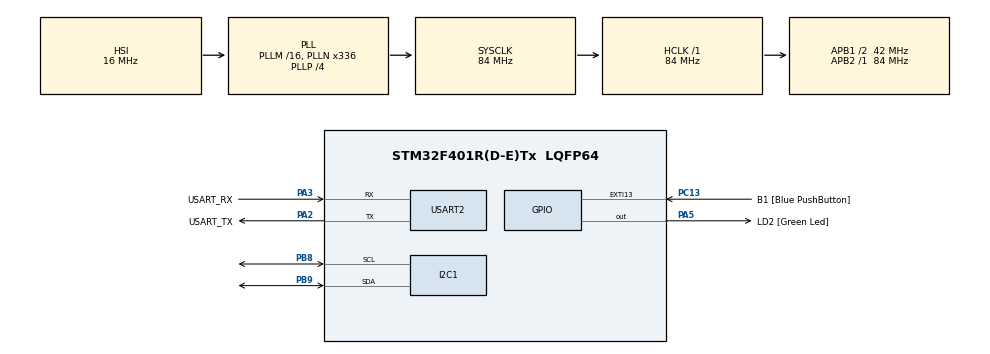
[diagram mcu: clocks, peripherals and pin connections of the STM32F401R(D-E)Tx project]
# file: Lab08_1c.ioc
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Dma.I2C1_RX.0.Direction=DMA_PERIPH_TO_MEMORY
Dma.I2C1_RX.0.FIFOMode=DMA_FIFOMODE_DISABLE
Dma.I2C1_RX.0.Instance=DMA1_Stream0
Dma.I2C1_RX.0.MemDataAlignment=DMA_MDATAALIGN_BYTE
Dma.I2C1_RX.0.MemInc=DMA_MINC_ENABLE
Dma.I2C1_RX.0.Mode=DMA_NORMAL
Dma.I2C1_RX.0.PeriphDataAlignment=DMA_PDATAALIGN_BYTE
Dma.I2C1_RX.0.PeriphInc=DMA_PINC_DISABLE
Dma.I2C1_RX.0.Priority=DMA_PRIORITY_HIGH
Dma.Request0=I2C1_RX
Dma.Request1=USART2_TX
Dma.USART2_TX.1.Direction=DMA_MEMORY_TO_PERIPH
Dma.USART2_TX.1.FIFOMode=DMA_FIFOMODE_DISABLE
Dma.USART2_TX.1.Instance=DMA1_Stream6
Dma.USART2_TX.1.MemDataAlignment=DMA_MDATAALIGN_BYTE
Dma.USART2_TX.1.MemInc=DMA_MINC_ENABLE
Dma.USART2_TX.1.Mode=DMA_NORMAL
Dma.USART2_TX.1.PeriphDataAlignment=DMA_PDATAALIGN_BYTE
Dma.USART2_TX.1.PeriphInc=DMA_PINC_DISABLE
Dma.USART2_TX.1.Priority=DMA_PRIORITY_HIGH
Mcu.Family=STM32F4
Mcu.Name=STM32F401R(D-E)Tx
Mcu.Package=LQFP64
NVIC.DMA1_Stream0_IRQn=true\:0\:0\:false\:false\:true\:false\:true\:true
NVIC.DMA1_Stream6_IRQn=true\:0\:0\:false\:false\:true\:false\:true\:true
NVIC.I2C1_ER_IRQn=true\:0\:0\:false\:false\:true\:true\:true\:true
NVIC.I2C1_EV_IRQn=true\:0\:0\:false\:false\:true\:true\:true\:true
NVIC.PriorityGroup=NVIC_PRIORITYGROUP_4
NVIC.TIM2_IRQn=true\:0\:0\:false\:false\:true\:true\:true\:true
NVIC.USART2_IRQn=true\:0\:0\:false\:false\:true\:true\:true\:true
PA13.GPIO_Label=TMS
PA13.Mode=Trace_Asynchronous_SW
PA13.Signal=SYS_JTMS-SWDIO
PA14.GPIO_Label=TCK
PA14.Mode=Trace_Asynchronous_SW
PA14.Signal=SYS_JTCK-SWCLK
PA2.GPIO_Label=USART_TX
PA2.GPIO_Mode=GPIO_MODE_AF_PP
PA2.GPIO_PuPd=GPIO_NOPULL
PA2.GPIO_Speed=GPIO_SPEED_FREQ_LOW
PA2.Mode=Asynchronous
PA2.Signal=USART2_TX
PA3.GPIO_Label=USART_RX
PA3.GPIO_Mode=GPIO_MODE_AF_PP
PA3.GPIO_PuPd=GPIO_NOPULL
PA3.GPIO_Speed=GPIO_SPEED_FREQ_LOW
PA3.Mode=Asynchronous
PA3.Signal=USART2_RX
PA5.GPIO_Label=LD2 [Green Led]
PA5.GPIO_Mode=GPIO_MODE_OUTPUT_PP
PA5.GPIO_PuPd=GPIO_NOPULL
PA5.GPIO_Speed=GPIO_SPEED_FREQ_LOW
PA5.Signal=GPIO_Output
PB3.GPIO_Label=SWO
PB3.Mode=Trace_Asynchronous_SW
PB3.Signal=SYS_JTDO-SWO
PB8.Mode=I2C
PB8.Signal=I2C1_SCL
PB9.Mode=I2C
PB9.Signal=I2C1_SDA
PC13-ANTI_TAMP.GPIO_Label=B1 [Blue PushButton]
PC13-ANTI_TAMP.GPIO_ModeDefaultEXTI=GPIO_MODE_IT_FALLING
PC13-ANTI_TAMP.GPIO_PuPd=GPIO_NOPULL
PC13-ANTI_TAMP.Signal=GPXTI13
PC14-OSC32_IN.Mode=LSE-External-Oscillator
PC14-OSC32_IN.Signal=RCC_OSC32_IN
PC15-OSC32_OUT.Mode=LSE-External-Oscillator
PC15-OSC32_OUT.Signal=RCC_OSC32_OUT
PH0\ -\ OSC_IN.Mode=HSE-External-Clock-Source
PH0\ -\ OSC_IN.Signal=RCC_OSC_IN
PH1\ -\ OSC_OUT.Mode=HSE-External-Clock-Source
PH1\ -\ OSC_OUT.Signal=RCC_OSC_OUT
ProjectManager.HeapSize=0x200
ProjectManager.StackSize=0x400
ProjectManager.TargetToolchain=STM32CubeIDE
RCC.48MHZClocksFreq_Value=48000000
RCC.AHBFreq_Value=84000000
RCC.APB1CLKDivider=RCC_HCLK_DIV2
RCC.APB1Freq_Value=42000000
RCC.APB1TimFreq_Value=84000000
RCC.APB2Freq_Value=84000000
RCC.APB2TimFreq_Value=84000000
RCC.CortexFreq_Value=84000000
RCC.HCLKFreq_Value=84000000
RCC.HSE_VALUE=8000000
RCC.HSI_VALUE=16000000
RCC.PLLN=336
RCC.PLLP=RCC_PLLP_DIV4
RCC.PLLQ=7
RCC.SYSCLKFreq_VALUE=84000000
RCC.SYSCLKSource=RCC_SYSCLKSOURCE_PLLCLK
RCC.VCOOutputFreq_Value=336000000
TIM2.Period=839999
TIM2.Prescaler=99
USART2.VirtualMode=VM_ASYNC
VP_TIM2_VS_ClockSourceINT.Mode=Internal
board=NUCLEO-F401RE

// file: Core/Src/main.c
/* USER CODE BEGIN Header */
/**
  ******************************************************************************
  * @file           : main.c
  * @brief          : Main program body
  ******************************************************************************
  * @attention
  *
  * Copyright (c) 2026 STMicroelectronics.
  * All rights reserved.
  *
  * This software is licensed under terms that can be found in the LICENSE file
  * in the root directory of this software component.
  * If no LICENSE file comes with this software, it is provided AS-IS.
  *
  ******************************************************************************
  */
/* USER CODE END Header */
#include "main.h"

/* USER CODE BEGIN Includes */
#include "stdio.h"
#include "string.h"

/* USER CODE END Includes */

/* USER CODE BEGIN PD */
#define LIS2DE_ADDR (0b0101000 << 1)
#define CTRL_REG1_ADDR (0x20)
#define CTRL_REG4_ADDR (0x23)
#define OUT_X_ADDR (0x29)
#define OUT_Y_ADDR (0x2B)
#define OUT_Z_ADDR (0x2D)

// 0x29 -> 0x2A -> 0x2B -> 0x2C -> 0x2D
// Sono 5 registri, uno dopo l'altro, di cui ci enteressano solo 3

/* USER CODE END PD */

I2C_HandleTypeDef hi2c1;
DMA_HandleTypeDef hdma_i2c1_rx;

TIM_HandleTypeDef htim2;

UART_HandleTypeDef huart2;
DMA_HandleTypeDef hdma_usart2_tx;

/* USER CODE BEGIN PV */
uint8_t ctrl1_config=0x17; // 0001 0111
// ODR[3:0] = 0001 -> 1 Hz
// lPen = 0 -> Normal Mode (non low-power)
// Zen, Yen, Xen = 1 -> tutti gli assi abilitati
uint8_t ctrl4_config = 0x00; // default 0000 0000
// FSR = +/-2g e Normal Mode (non Self Test)

uint8_t raw[5]; // 5 byte
// 0x29 -> 0x2A -> 0x2B -> 0x2C -> 0x2D
// OUT_X-> 0x2A -> OUT_Y-> 0x2C -> OUT_Z
// Poi utilizzeremo solo raw[0], raw[2] e raw[4]

char message[100];
int n;

float acc[3];

/* USER CODE END PV */

void SystemClock_Config(void);
static void MX_GPIO_Init(void);
static void MX_DMA_Init(void);
static void MX_USART2_UART_Init(void);
static void MX_I2C1_Init(void);
static void MX_TIM2_Init(void);

/* USER CODE BEGIN 0 */
void AccelerometerInitialization(void){ // Configurazione Registri
	// CTRL1
	// ODR[3:0] = 0001
	// LPEN = 0
	// XEN, YEN, ZEN=1
	HAL_I2C_Mem_Write(&hi2c1, LIS2DE_ADDR, CTRL_REG1_ADDR, I2C_MEMADD_SIZE_8BIT, &ctrl1_config, 1, HAL_MAX_DELAY);
	// CTRL4
	// FSR = +/-2g
	HAL_I2C_Mem_Write(&hi2c1, LIS2DE_ADDR, CTRL_REG4_ADDR, I2C_MEMADD_SIZE_8BIT, &ctrl4_config, 1, HAL_MAX_DELAY);
	return;
}

void HAL_TIM_PeriodElapsedCallback(TIM_HandleTypeDef *htim)
{
    if (htim->Instance == TIM2)
    {
    	// Read the accelerometer
    	HAL_I2C_Mem_Read_DMA(&hi2c1, LIS2DE_ADDR, OUT_X_ADDR | 0x80, I2C_MEMADD_SIZE_8BIT, raw, 5);
    	// 0x80 = 0b 1000 0000
    	// Mettiamo il MSB = 1 per fare l'autoincrement dal registro OUT_X in poi, di 5 address
    }
}

void HAL_I2C_MemRxCpltCallback(I2C_HandleTypeDef *hi2c)
{
    if (hi2c->Instance == I2C1)
    {
        acc[0] = ((int8_t)raw[0] * 15.6) / 1000.0;  // OUT_X
        acc[1] = ((int8_t)raw[2] * 15.6) / 1000.0;  // OUT_Y
        acc[2] = ((int8_t)raw[4] * 15.6) / 1000.0;  // OUT_Z

        n = sprintf(message, "X: %+.2f g\r\nY: %+.2f g\r\nZ: %+.2f g\r\n", acc[0], acc[1], acc[2]);
        HAL_UART_Transmit_DMA(&huart2, (uint8_t*)message, n);
    }
}
/* USER CODE END 0 */

int main(void)
{

  /* MCU Configuration--------------------------------------------------------*/

  /* Reset of all peripherals, Initializes the Flash interface and the Systick. */
  HAL_Init();

  /* Configure the system clock */
  SystemClock_Config();

  /* Initialize all configured peripherals */
  MX_GPIO_Init();
  MX_DMA_Init();
  MX_USART2_UART_Init();
  MX_I2C1_Init();
  MX_TIM2_Init();
  /* USER CODE BEGIN 2 */
  AccelerometerInitialization();
  HAL_TIM_Base_Start_IT(&htim2);

  /* USER CODE END 2 */

  /* Infinite loop */
  while (1)
  {

  }
}

void SystemClock_Config(void)
{
  RCC_OscInitTypeDef RCC_OscInitStruct = {0};
  RCC_ClkInitTypeDef RCC_ClkInitStruct = {0};

  /** Configure the main internal regulator output voltage
  */
  __HAL_RCC_PWR_CLK_ENABLE();
  __HAL_PWR_VOLTAGESCALING_CONFIG(PWR_REGULATOR_VOLTAGE_SCALE2);

  /** Initializes the RCC Oscillators according to the specified parameters
  * in the RCC_OscInitTypeDef structure.
  */
  RCC_OscInitStruct.OscillatorType = RCC_OSCILLATORTYPE_HSI;
  RCC_OscInitStruct.HSIState = RCC_HSI_ON;
  RCC_OscInitStruct.HSICalibrationValue = RCC_HSICALIBRATION_DEFAULT;
  RCC_OscInitStruct.PLL.PLLState = RCC_PLL_ON;
  RCC_OscInitStruct.PLL.PLLSource = RCC_PLLSOURCE_HSI;
  RCC_OscInitStruct.PLL.PLLM = 16;
  RCC_OscInitStruct.PLL.PLLN = 336;
  RCC_OscInitStruct.PLL.PLLP = RCC_PLLP_DIV4;
  RCC_OscInitStruct.PLL.PLLQ = 7;
  if (HAL_RCC_OscConfig(&RCC_OscInitStruct) != HAL_OK)
  {
    Error_Handler();
  }

  /** Initializes the CPU, AHB and APB buses clocks
  */
  RCC_ClkInitStruct.ClockType = RCC_CLOCKTYPE_HCLK|RCC_CLOCKTYPE_SYSCLK
                              |RCC_CLOCKTYPE_PCLK1|RCC_CLOCKTYPE_PCLK2;
  RCC_ClkInitStruct.SYSCLKSource = RCC_SYSCLKSOURCE_PLLCLK;
  RCC_ClkInitStruct.AHBCLKDivider = RCC_SYSCLK_DIV1;
  RCC_ClkInitStruct.APB1CLKDivider = RCC_HCLK_DIV2;
  RCC_ClkInitStruct.APB2CLKDivider = RCC_HCLK_DIV1;

  if (HAL_RCC_ClockConfig(&RCC_ClkInitStruct, FLASH_LATENCY_2) != HAL_OK)
  {
    Error_Handler();
  }
}

static void MX_I2C1_Init(void)
{

  hi2c1.Instance = I2C1;
  hi2c1.Init.ClockSpeed = 100000;
  hi2c1.Init.DutyCycle = I2C_DUTYCYCLE_2;
  hi2c1.Init.OwnAddress1 = 0;
  hi2c1.Init.AddressingMode = I2C_ADDRESSINGMODE_7BIT;
  hi2c1.Init.DualAddressMode = I2C_DUALADDRESS_DISABLE;
  hi2c1.Init.OwnAddress2 = 0;
  hi2c1.Init.GeneralCallMode = I2C_GENERALCALL_DISABLE;
  hi2c1.Init.NoStretchMode = I2C_NOSTRETCH_DISABLE;
  if (HAL_I2C_Init(&hi2c1) != HAL_OK)
  {
    Error_Handler();
  }

}

static void MX_TIM2_Init(void)
{

  TIM_ClockConfigTypeDef sClockSourceConfig = {0};
  TIM_MasterConfigTypeDef sMasterConfig = {0};

  htim2.Instance = TIM2;
  htim2.Init.Prescaler = 99;
  htim2.Init.CounterMode = TIM_COUNTERMODE_UP;
  htim2.Init.Period = 839999;
  htim2.Init.ClockDivision = TIM_CLOCKDIVISION_DIV1;
  htim2.Init.AutoReloadPreload = TIM_AUTORELOAD_PRELOAD_DISABLE;
  if (HAL_TIM_Base_Init(&htim2) != HAL_OK)
  {
    Error_Handler();
  }
  sClockSourceConfig.ClockSource = TIM_CLOCKSOURCE_INTERNAL;
  if (HAL_TIM_ConfigClockSource(&htim2, &sClockSourceConfig) != HAL_OK)
  {
    Error_Handler();
  }
  sMasterConfig.MasterOutputTrigger = TIM_TRGO_RESET;
  sMasterConfig.MasterSlaveMode = TIM_MASTERSLAVEMODE_DISABLE;
  if (HAL_TIMEx_MasterConfigSynchronization(&htim2, &sMasterConfig) != HAL_OK)
  {
    Error_Handler();
  }

}

static void MX_USART2_UART_Init(void)
{

  huart2.Instance = USART2;
  huart2.Init.BaudRate = 115200;
  huart2.Init.WordLength = UART_WORDLENGTH_8B;
  huart2.Init.StopBits = UART_STOPBITS_1;
  huart2.Init.Parity = UART_PARITY_NONE;
  huart2.Init.Mode = UART_MODE_TX_RX;
  huart2.Init.HwFlowCtl = UART_HWCONTROL_NONE;
  huart2.Init.OverSampling = UART_OVERSAMPLING_16;
  if (HAL_UART_Init(&huart2) != HAL_OK)
  {
    Error_Handler();
  }

}

static void MX_DMA_Init(void)
{

  /* DMA controller clock enable */
  __HAL_RCC_DMA1_CLK_ENABLE();

  /* DMA interrupt init */
  /* DMA1_Stream0_IRQn interrupt configuration */
  HAL_NVIC_SetPriority(DMA1_Stream0_IRQn, 0, 0);
  HAL_NVIC_EnableIRQ(DMA1_Stream0_IRQn);
  /* DMA1_Stream6_IRQn interrupt configuration */
  HAL_NVIC_SetPriority(DMA1_Stream6_IRQn, 0, 0);
  HAL_NVIC_EnableIRQ(DMA1_Stream6_IRQn);

}

static void MX_GPIO_Init(void)
{
  GPIO_InitTypeDef GPIO_InitStruct = {0};

  /* GPIO Ports Clock Enable */
  __HAL_RCC_GPIOC_CLK_ENABLE();
  __HAL_RCC_GPIOH_CLK_ENABLE();
  __HAL_RCC_GPIOA_CLK_ENABLE();
  __HAL_RCC_GPIOB_CLK_ENABLE();

  /*Configure GPIO pin Output Level */
  HAL_GPIO_WritePin(LD2_GPIO_Port, LD2_Pin, GPIO_PIN_RESET);

  /*Configure GPIO pin : B1_Pin */
  GPIO_InitStruct.Pin = B1_Pin;
  GPIO_InitStruct.Mode = GPIO_MODE_IT_FALLING;
  GPIO_InitStruct.Pull = GPIO_NOPULL;
  HAL_GPIO_Init(B1_GPIO_Port, &GPIO_InitStruct);

  /*Configure GPIO pin : LD2_Pin */
  GPIO_InitStruct.Pin = LD2_Pin;
  GPIO_InitStruct.Mode = GPIO_MODE_OUTPUT_PP;
  GPIO_InitStruct.Pull = GPIO_NOPULL;
  GPIO_InitStruct.Speed = GPIO_SPEED_FREQ_LOW;
  HAL_GPIO_Init(LD2_GPIO_Port, &GPIO_InitStruct);

}

void Error_Handler(void)
{
  __disable_irq();
  while (1)
  {
  }
}
